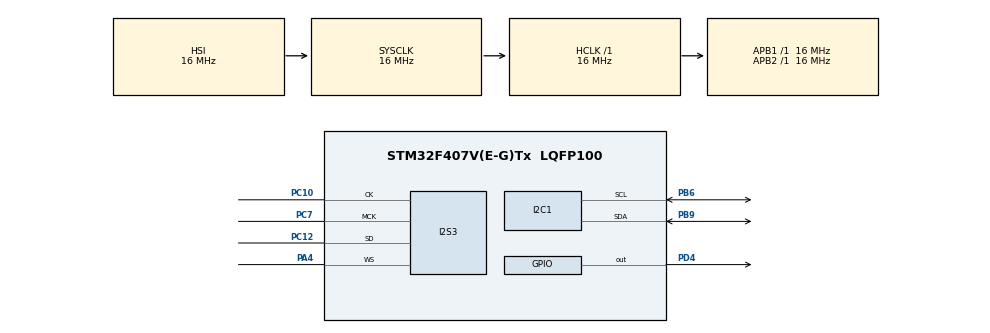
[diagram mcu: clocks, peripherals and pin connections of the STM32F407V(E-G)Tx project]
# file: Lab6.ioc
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Dma.Request0=SPI3_TX
Dma.SPI3_TX.0.Direction=DMA_MEMORY_TO_PERIPH
Dma.SPI3_TX.0.FIFOMode=DMA_FIFOMODE_ENABLE
Dma.SPI3_TX.0.FIFOThreshold=DMA_FIFO_THRESHOLD_FULL
Dma.SPI3_TX.0.Instance=DMA1_Stream5
Dma.SPI3_TX.0.MemBurst=DMA_MBURST_SINGLE
Dma.SPI3_TX.0.MemDataAlignment=DMA_MDATAALIGN_HALFWORD
Dma.SPI3_TX.0.MemInc=DMA_MINC_ENABLE
Dma.SPI3_TX.0.Mode=DMA_CIRCULAR
Dma.SPI3_TX.0.PeriphBurst=DMA_PBURST_SINGLE
Dma.SPI3_TX.0.PeriphDataAlignment=DMA_PDATAALIGN_HALFWORD
Dma.SPI3_TX.0.PeriphInc=DMA_PINC_DISABLE
Dma.SPI3_TX.0.Priority=DMA_PRIORITY_LOW
I2S3.AudioFreq=I2S_AUDIOFREQ_48K
I2S3.ErrorAudioFreq=-2.34 %
I2S3.FullDuplexMode=I2S_FULLDUPLEXMODE_DISABLE
I2S3.Instance=SPI$Index
I2S3.RealAudioFreq=46.875 KHz
I2S3.VirtualMode=I2S_MODE_MASTER
Mcu.Family=STM32F4
Mcu.Name=STM32F407V(E-G)Tx
Mcu.Package=LQFP100
NVIC.DMA1_Stream5_IRQn=true\:0\:0\:false\:false\:true\:false\:true\:true
NVIC.PriorityGroup=NVIC_PRIORITYGROUP_4
PA4.Mode=Half_Duplex_Master
PA4.Signal=I2S3_WS
PB6.Mode=I2C
PB6.Signal=I2C1_SCL
PB9.Mode=I2C
PB9.Signal=I2C1_SDA
PC10.Mode=Half_Duplex_Master
PC10.Signal=I2S3_CK
PC12.Mode=Half_Duplex_Master
PC12.Signal=I2S3_SD
PC7.Mode=Master_Clock_Activated
PC7.Signal=I2S3_MCK
PD4.Signal=GPIO_Output
ProjectManager.HeapSize=0x200
ProjectManager.StackSize=0x400
ProjectManager.TargetToolchain=STM32CubeIDE
RCC.AHBFreq_Value=16000000
RCC.APB1Freq_Value=16000000
RCC.APB2Freq_Value=16000000
RCC.CortexFreq_Value=16000000
RCC.HSE_VALUE=25000000
RCC.HSI_VALUE=16000000
RCC.LSE_VALUE=32768
RCC.SYSCLKFreq_VALUE=16000000
RCC.VCOOutputFreq_Value=192000000
board=custom

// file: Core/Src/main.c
/* USER CODE BEGIN Header */
/**
  ******************************************************************************
  * @file           : main.c
  * @brief          : Main program body
  ******************************************************************************
  * @attention
  *
  * Copyright (c) 2026 STMicroelectronics.
  * All rights reserved.
  *
  * This software is licensed under terms that can be found in the LICENSE file
  * in the root directory of this software component.
  * If no LICENSE file comes with this software, it is provided AS-IS.
  *
  ******************************************************************************
  */
/* USER CODE END Header */
#include "main.h"

/* USER CODE BEGIN PTD */
typedef enum {
    NOTE_C4 = 0x00, // 260.87 Hz
    NOTE_C5 = 0x10, // 521.74 Hz
    NOTE_D5 = 0x20, // 585.37 Hz
    NOTE_E5 = 0x30, // 666.67 Hz
    NOTE_F5 = 0x40, // 705.88 Hz
    NOTE_G5 = 0x50, // 774.19 Hz
    NOTE_A5 = 0x60, // 888.89 Hz
    NOTE_B5 = 0x70, // 1000.00 Hz
    NOTE_C6 = 0x80, // 1043.48 Hz
    NOTE_D6 = 0x90, // 1200.00 Hz
    NOTE_E6 = 0xA0, // 1333.33 Hz
    NOTE_F6 = 0xB0, // 1411.76 Hz
    NOTE_G6 = 0xC0, // 1600.00 Hz
    NOTE_A6 = 0xD0, // 1714.29 Hz
    NOTE_B6 = 0xE0, // 2000.00 Hz
    NOTE_C7 = 0xF0  // 2181.82 Hz
} BeepNote_t;

typedef struct {
    BeepNote_t note;
    uint16_t duration_ms;
    uint16_t pause_ms;
} MelodyStep_t;
/* USER CODE END PTD */

/* USER CODE BEGIN PD */
#define CS43L22_I2C_ADDR            0x94

#define CS43L22_REG_POWER_CTL1      0x02
#define CS43L22_REG_POWER_CTL2      0x04
#define CS43L22_REG_CLOCKING_CTL    0x05
#define CS43L22_REG_INTERFACE_CTL1  0x06
#define CS43L22_REG_BEEP_FREQ_TIME  0x1C
#define CS43L22_REG_BEEP_VOL_OFF    0x1D
#define CS43L22_REG_BEEP_TONE_CFG   0x1E
#define CS43L22_REG_MASTER_A_VOL    0x20
#define CS43L22_REG_MASTER_B_VOL    0x21
/* USER CODE END PD */

I2C_HandleTypeDef hi2c1;

I2S_HandleTypeDef hi2s3;
DMA_HandleTypeDef hdma_spi3_tx;

/* USER CODE BEGIN PV */
uint16_t dataI2S[100] = {0};
const MelodyStep_t melody[] = {
    {NOTE_E5, 300, 50}, {NOTE_E5, 300, 50}, {NOTE_F5, 300, 50}, {NOTE_G5, 300, 50},
    {NOTE_G5, 300, 50}, {NOTE_F5, 300, 50}, {NOTE_E5, 300, 50}, {NOTE_D5, 300, 50},
    {NOTE_C5, 300, 50}, {NOTE_C5, 300, 50}, {NOTE_D5, 300, 50}, {NOTE_E5, 300, 50},
    {NOTE_E5, 450, 50}, {NOTE_D5, 150, 50}, {NOTE_D5, 600, 150}
};
/* USER CODE END PV */

void SystemClock_Config(void);
static void MX_GPIO_Init(void);
static void MX_DMA_Init(void);
static void MX_I2C1_Init(void);
static void MX_I2S3_Init(void);

/* USER CODE BEGIN 0 */
void CS43L22_WriteReg(uint8_t reg, uint8_t value) {
    uint8_t buf[2] = {reg, value};
    HAL_I2C_Master_Transmit(&hi2c1, CS43L22_I2C_ADDR, buf, 2, 100);
}
void CS43L22_Init(void) {
    HAL_GPIO_WritePin(GPIOD, GPIO_PIN_4, GPIO_PIN_SET);
    HAL_Delay(10);

    CS43L22_WriteReg(CS43L22_REG_POWER_CTL1, 0x01);
    CS43L22_WriteReg(0x00, 0x99);
    CS43L22_WriteReg(0x47, 0x80);
    CS43L22_WriteReg(0x32, 0x80);
    CS43L22_WriteReg(0x32, 0x00);
    CS43L22_WriteReg(0x00, 0x00);

    CS43L22_WriteReg(CS43L22_REG_POWER_CTL2, 0xAF);

    CS43L22_WriteReg(CS43L22_REG_CLOCKING_CTL, 0x81);

    CS43L22_WriteReg(CS43L22_REG_INTERFACE_CTL1, 0x04);
    CS43L22_WriteReg(CS43L22_REG_MASTER_A_VOL, 0x00);
    CS43L22_WriteReg(CS43L22_REG_MASTER_B_VOL, 0x00);
    CS43L22_WriteReg(CS43L22_REG_BEEP_VOL_OFF, 0x06);

    CS43L22_WriteReg(CS43L22_REG_POWER_CTL1, 0x9E);
}

void CS43L22_Beep(BeepNote_t pitch, uint32_t duration_ms) {
    CS43L22_WriteReg(CS43L22_REG_BEEP_FREQ_TIME, (uint8_t)pitch);
    CS43L22_WriteReg(CS43L22_REG_BEEP_TONE_CFG, 0xC0);
    HAL_Delay(duration_ms);
    CS43L22_WriteReg(CS43L22_REG_BEEP_TONE_CFG, 0x00);
}
/* USER CODE END 0 */

int main(void)
{

  /* MCU Configuration--------------------------------------------------------*/

  /* Reset of all peripherals, Initializes the Flash interface and the Systick. */
  HAL_Init();

  /* Configure the system clock */
  SystemClock_Config();

  /* Initialize all configured peripherals */
  MX_GPIO_Init();
  MX_DMA_Init();
  MX_I2C1_Init();
  MX_I2S3_Init();
  /* USER CODE BEGIN 2 */
    HAL_I2S_Transmit_DMA(&hi2s3, (uint16_t *)dataI2S, 100);
    CS43L22_Init();
    HAL_Delay(50);
    uint32_t melody_len = sizeof(melody) / sizeof(melody[0]);
    for (int repeat = 0; repeat < 3; repeat++) {
        for (uint32_t i = 0; i < melody_len; i++) {
            CS43L22_Beep(melody[i].note, melody[i].duration_ms);
            HAL_Delay(melody[i].pause_ms);
        }
        HAL_Delay(600);
    }
  /* USER CODE END 2 */

  /* Infinite loop */
  while (1)
  {

  }
}

void SystemClock_Config(void)
{
  RCC_OscInitTypeDef RCC_OscInitStruct = {0};
  RCC_ClkInitTypeDef RCC_ClkInitStruct = {0};

  /** Macro to configure the PLL multiplication factor
  */
  __HAL_RCC_PLL_PLLM_CONFIG(16);

  /** Macro to configure the PLL clock source
  */
  __HAL_RCC_PLL_PLLSOURCE_CONFIG(RCC_PLLSOURCE_HSI);

  /** Configure the main internal regulator output voltage
  */
  __HAL_RCC_PWR_CLK_ENABLE();
  __HAL_PWR_VOLTAGESCALING_CONFIG(PWR_REGULATOR_VOLTAGE_SCALE1);

  /** Initializes the RCC Oscillators according to the specified parameters
  * in the RCC_OscInitTypeDef structure.
  */
  RCC_OscInitStruct.OscillatorType = RCC_OSCILLATORTYPE_HSI;
  RCC_OscInitStruct.HSIState = RCC_HSI_ON;
  RCC_OscInitStruct.HSICalibrationValue = RCC_HSICALIBRATION_DEFAULT;
  RCC_OscInitStruct.PLL.PLLState = RCC_PLL_NONE;
  RCC_OscInitStruct.PLL.PLLSource = RCC_PLLSOURCE_HSI;
  if (HAL_RCC_OscConfig(&RCC_OscInitStruct) != HAL_OK)
  {
    Error_Handler();
  }

  /** Initializes the CPU, AHB and APB buses clocks
  */
  RCC_ClkInitStruct.ClockType = RCC_CLOCKTYPE_HCLK|RCC_CLOCKTYPE_SYSCLK
                              |RCC_CLOCKTYPE_PCLK1|RCC_CLOCKTYPE_PCLK2;
  RCC_ClkInitStruct.SYSCLKSource = RCC_SYSCLKSOURCE_HSI;
  RCC_ClkInitStruct.AHBCLKDivider = RCC_SYSCLK_DIV1;
  RCC_ClkInitStruct.APB1CLKDivider = RCC_HCLK_DIV1;
  RCC_ClkInitStruct.APB2CLKDivider = RCC_HCLK_DIV1;

  if (HAL_RCC_ClockConfig(&RCC_ClkInitStruct, FLASH_LATENCY_0) != HAL_OK)
  {
    Error_Handler();
  }
}

static void MX_I2C1_Init(void)
{

  hi2c1.Instance = I2C1;
  hi2c1.Init.ClockSpeed = 100000;
  hi2c1.Init.DutyCycle = I2C_DUTYCYCLE_2;
  hi2c1.Init.OwnAddress1 = 0;
  hi2c1.Init.AddressingMode = I2C_ADDRESSINGMODE_7BIT;
  hi2c1.Init.DualAddressMode = I2C_DUALADDRESS_DISABLE;
  hi2c1.Init.OwnAddress2 = 0;
  hi2c1.Init.GeneralCallMode = I2C_GENERALCALL_DISABLE;
  hi2c1.Init.NoStretchMode = I2C_NOSTRETCH_DISABLE;
  if (HAL_I2C_Init(&hi2c1) != HAL_OK)
  {
    Error_Handler();
  }

}

static void MX_I2S3_Init(void)
{

  hi2s3.Instance = SPI3;
  hi2s3.Init.Mode = I2S_MODE_MASTER_TX;
  hi2s3.Init.Standard = I2S_STANDARD_PHILIPS;
  hi2s3.Init.DataFormat = I2S_DATAFORMAT_16B;
  hi2s3.Init.MCLKOutput = I2S_MCLKOUTPUT_ENABLE;
  hi2s3.Init.AudioFreq = I2S_AUDIOFREQ_48K;
  hi2s3.Init.CPOL = I2S_CPOL_LOW;
  hi2s3.Init.ClockSource = I2S_CLOCK_PLL;
  hi2s3.Init.FullDuplexMode = I2S_FULLDUPLEXMODE_DISABLE;
  if (HAL_I2S_Init(&hi2s3) != HAL_OK)
  {
    Error_Handler();
  }

}

static void MX_DMA_Init(void)
{

  /* DMA controller clock enable */
  __HAL_RCC_DMA1_CLK_ENABLE();

  /* DMA interrupt init */
  /* DMA1_Stream5_IRQn interrupt configuration */
  HAL_NVIC_SetPriority(DMA1_Stream5_IRQn, 0, 0);
  HAL_NVIC_EnableIRQ(DMA1_Stream5_IRQn);

}

static void MX_GPIO_Init(void)
{
  GPIO_InitTypeDef GPIO_InitStruct = {0};

  /* GPIO Ports Clock Enable */
  __HAL_RCC_GPIOA_CLK_ENABLE();
  __HAL_RCC_GPIOC_CLK_ENABLE();
  __HAL_RCC_GPIOD_CLK_ENABLE();
  __HAL_RCC_GPIOB_CLK_ENABLE();

  /*Configure GPIO pin Output Level */
  HAL_GPIO_WritePin(GPIOD, GPIO_PIN_4, GPIO_PIN_RESET);

  /*Configure GPIO pin : PD4 */
  GPIO_InitStruct.Pin = GPIO_PIN_4;
  GPIO_InitStruct.Mode = GPIO_MODE_OUTPUT_PP;
  GPIO_InitStruct.Pull = GPIO_NOPULL;
  GPIO_InitStruct.Speed = GPIO_SPEED_FREQ_LOW;
  HAL_GPIO_Init(GPIOD, &GPIO_InitStruct);

}

void Error_Handler(void)
{
  __disable_irq();
  while (1)
  {
  }
}
